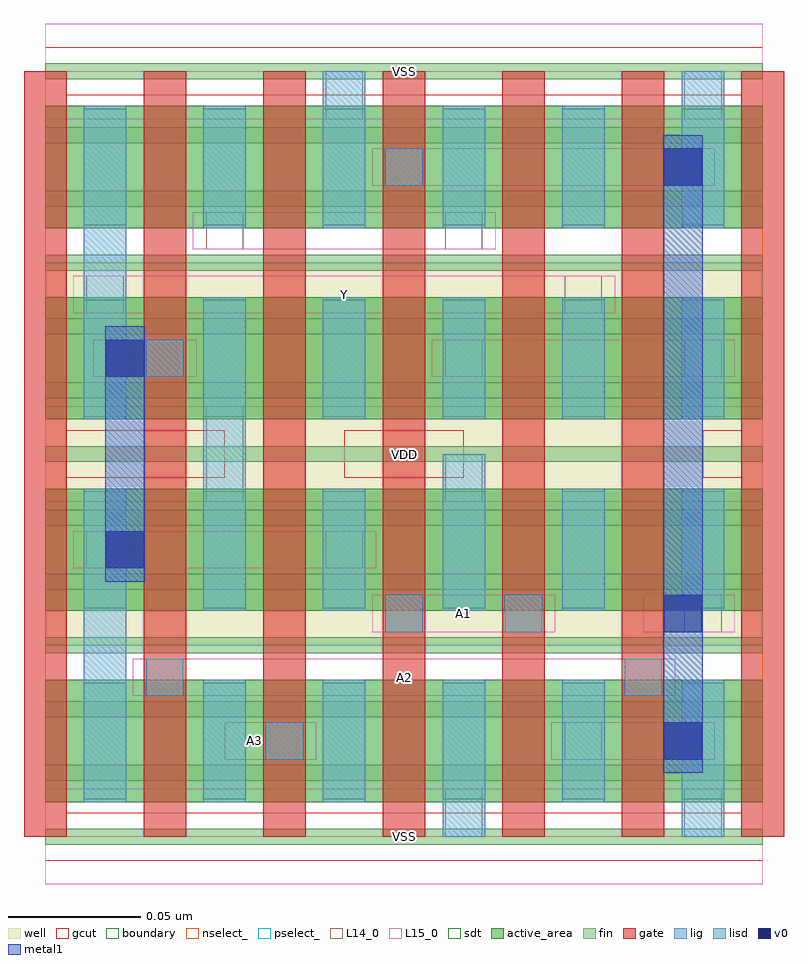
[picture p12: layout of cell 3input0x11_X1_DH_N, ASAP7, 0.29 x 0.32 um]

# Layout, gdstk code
import gdstk
lib = gdstk.Library(unit=1e-6, precision=2.5e-10)
def R(c, l, rs):  # rectangles x0, y0, x1, y1
    for r in rs: c.add(gdstk.rectangle(r[:2], r[2:], *l))
def A(c, l, x, y, w, h, nx, ny, dx, dy):  # array of equal rectangles
    R(c, l, [(x+i*dx, y+j*dy, x+i*dx+w, y+j*dy+h) for i in range(nx) for j in range(ny)])
def P(c, l, *ps):  # polygons
    for p in ps: c.add(gdstk.Polygon(p, *l))
well = (1, 0)
fin = (2, 0)
gate = (7, 0)
gcut = (10, 0)
active_area = (11, 0)
nselect_ = (12, 0)
pselect_ = (13, 0)
L14_0 = (14, 0)
L15_0 = (15, 0)
lig = (16, 0)
lisd = (17, 0)
v0 = (18, 0)
metal1 = (19, 0)
sdt = (88, 0)
boundary = (100, 0)

c_3input0x11_x1_dh_n = lib.new_cell('3input0x11_X1_DH_N')
R(c_3input0x11_x1_dh_n, well, [(0,0.072,0.27,0.144), (0,0.144,0.27,0.216)])
A(c_3input0x11_x1_dh_n, fin, 0, -0.003, 0.27, 0.006, 1, 13, 0, 0.024)
A(c_3input0x11_x1_dh_n, gate, -0.008, 0, 0.016, 0.288, 7, 1, 0.045, 0)
R(c_3input0x11_x1_dh_n, gcut, [(0.1125,0.135,0.1575,0.153)])
P(c_3input0x11_x1_dh_n, gcut, [(0,-0.009),(0,0),(-0.008,0),(-0.008,0.279),(0.008,0.279),(0.008,0.153),(0.0675,0.153),(0.0675,0.135),(0.008,0.135),(0.008,0.009),(0.262,0.009),(0.262,0.135),(0.2475,0.135),(0.2475,0.153),(0.262,0.153),(0.262,0.279),(-0.008,0.279),(-0.008,0.288),(0,0.288),(0,0.297),(0.27,0.297),(0.27,0.288),(0.278,0.288),(0.278,0),(0.27,0),(0.27,-0.009)])
A(c_3input0x11_x1_dh_n, active_area, 0, 0.013, 0.27, 0.046, 1, 4, 0, 0.072)
R(c_3input0x11_x1_dh_n, nselect_, [(0,0,0.27,0.072), (0,0.216,0.27,0.288)])
R(c_3input0x11_x1_dh_n, pselect_, [(0,0.072,0.27,0.144), (0,0.144,0.27,0.216)])
R(c_3input0x11_x1_dh_n, L14_0, [(0.1505,0,0.1645,0.018), (0.2405,0,0.2545,0.018), (0.083,0.029,0.097,0.043), (0.1955,0.029,0.2095,0.043), (0.038,0.053,0.052,0.067), (0.218,0.053,0.232,0.067), (0.128,0.077,0.142,0.091), (0.173,0.077,0.187,0.091), (0.2405,0.077,0.2545,0.091), (0.0155,0.101,0.0295,0.115), (0.1055,0.101,0.1195,0.115), (0.0605,0.126,0.0745,0.144), (0.1505,0.126,0.1645,0.144), (0.0605,0.144,0.0745,0.162), (0.038,0.173,0.052,0.187), (0.1505,0.173,0.1645,0.187), (0.2405,0.173,0.2545,0.187), (0.0155,0.197,0.0295,0.211), (0.1955,0.197,0.2095,0.211), (0.0605,0.221,0.0745,0.235), (0.1505,0.221,0.1645,0.235), (0.128,0.245,0.142,0.259), (0.1055,0.27,0.1195,0.288), (0.2405,0.27,0.2545,0.288)])
A(c_3input0x11_x1_dh_n, L15_0, 0, -0.018, 0.27, 0.036, 1, 3, 0, 0.144)
R(c_3input0x11_x1_dh_n, L15_0, [(0.0675,0.029,0.102,0.043), (0.1905,0.029,0.252,0.043), (0.033,0.053,0.237,0.067), (0.123,0.077,0.192,0.091), (0.225,0.077,0.2595,0.091), (0.0105,0.101,0.1245,0.115), (0.018,0.173,0.057,0.187), (0.1455,0.173,0.2595,0.187), (0.0105,0.197,0.2145,0.211), (0.0555,0.221,0.1695,0.235), (0.123,0.245,0.252,0.259)])
R(c_3input0x11_x1_dh_n, lig, [(0.083,0.029,0.097,0.043), (0.038,0.053,0.052,0.067), (0.218,0.053,0.232,0.067), (0.128,0.077,0.142,0.091), (0.173,0.077,0.187,0.091), (0.038,0.173,0.052,0.187), (0.128,0.245,0.142,0.259)])
A(c_3input0x11_x1_dh_n, lisd, 0.1045, 0.157, 0.016, 0.046, 4, 1, 0.045, 0)
R(c_3input0x11_x1_dh_n, lisd, [(0.1495,0,0.1655,0.059), (0.2395,0,0.2555,0.059), (0.0145,0.013,0.0305,0.131), (0.0595,0.013,0.0755,0.059), (0.1045,0.013,0.1205,0.059), (0.1945,0.013,0.2105,0.059), (0.0595,0.085,0.0755,0.203), (0.1045,0.085,0.1205,0.131), (0.1495,0.085,0.1655,0.144), (0.1945,0.085,0.2105,0.131), (0.2395,0.085,0.2555,0.131), (0.0145,0.157,0.0305,0.275), (0.0595,0.229,0.0755,0.275), (0.1045,0.229,0.1205,0.288), (0.1495,0.229,0.1655,0.275), (0.1945,0.229,0.2105,0.275), (0.2395,0.229,0.2555,0.288)])
R(c_3input0x11_x1_dh_n, v0, [(0.233,0.029,0.247,0.043), (0.233,0.077,0.247,0.091), (0.023,0.101,0.037,0.115), (0.023,0.173,0.037,0.187), (0.233,0.245,0.247,0.259)])
R(c_3input0x11_x1_dh_n, metal1, [(0.2325,0.024,0.2475,0.264), (0.0225,0.096,0.0375,0.192)])
A(c_3input0x11_x1_dh_n, sdt, 0.0145, 0.014, 0.016, 0.044, 6, 4, 0.045, 0.072)
R(c_3input0x11_x1_dh_n, boundary, [(0,0,0.27,0.288)])
c_3input0x11_x1_dh_n.add(gdstk.Label('A1', (0.1575,0.084), layer=15, texttype=251))
c_3input0x11_x1_dh_n.add(gdstk.Label('VSS', (0.135,0), layer=15, texttype=251))
c_3input0x11_x1_dh_n.add(gdstk.Label('VDD', (0.135,0.144), layer=15, texttype=251))
c_3input0x11_x1_dh_n.add(gdstk.Label('VDD', (0.135,0.144), layer=15, texttype=251))
c_3input0x11_x1_dh_n.add(gdstk.Label('VSS', (0.135,0.288), layer=15, texttype=251))
c_3input0x11_x1_dh_n.add(gdstk.Label('A3', (0.0788,0.036), layer=15, texttype=251))
c_3input0x11_x1_dh_n.add(gdstk.Label('VSS', (0.135,0), layer=15, texttype=251))
c_3input0x11_x1_dh_n.add(gdstk.Label('VDD', (0.135,0.144), layer=15, texttype=251))
c_3input0x11_x1_dh_n.add(gdstk.Label('VDD', (0.135,0.144), layer=15, texttype=251))
c_3input0x11_x1_dh_n.add(gdstk.Label('VSS', (0.135,0.288), layer=15, texttype=251))
c_3input0x11_x1_dh_n.add(gdstk.Label('Y', (0.1125,0.204), layer=15, texttype=251))
c_3input0x11_x1_dh_n.add(gdstk.Label('VSS', (0.135,0), layer=15, texttype=251))
c_3input0x11_x1_dh_n.add(gdstk.Label('VDD', (0.135,0.144), layer=15, texttype=251))
c_3input0x11_x1_dh_n.add(gdstk.Label('VDD', (0.135,0.144), layer=15, texttype=251))
c_3input0x11_x1_dh_n.add(gdstk.Label('VSS', (0.135,0.288), layer=15, texttype=251))
c_3input0x11_x1_dh_n.add(gdstk.Label('A2', (0.135,0.06), layer=15, texttype=251))
c_3input0x11_x1_dh_n.add(gdstk.Label('VSS', (0.135,0), layer=15, texttype=251))
c_3input0x11_x1_dh_n.add(gdstk.Label('VDD', (0.135,0.144), layer=15, texttype=251))
c_3input0x11_x1_dh_n.add(gdstk.Label('VDD', (0.135,0.144), layer=15, texttype=251))
c_3input0x11_x1_dh_n.add(gdstk.Label('VSS', (0.135,0.288), layer=15, texttype=251))
c_3input0x11_x1_dh_n.add(gdstk.Label('VSS', (0.135,0), layer=3, texttype=251))
c_3input0x11_x1_dh_n.add(gdstk.Label('VSS', (0.135,0.288), layer=3, texttype=251))
c_3input0x11_x1_dh_n.add(gdstk.Label('VSS', (0.135,0), layer=3, texttype=251))
c_3input0x11_x1_dh_n.add(gdstk.Label('VSS', (0.135,0.288), layer=3, texttype=251))
c_3input0x11_x1_dh_n.add(gdstk.Label('VSS', (0.135,0), layer=3, texttype=251))
c_3input0x11_x1_dh_n.add(gdstk.Label('VSS', (0.135,0.288), layer=3, texttype=251))
c_3input0x11_x1_dh_n.add(gdstk.Label('VSS', (0.135,0), layer=3, texttype=251))
c_3input0x11_x1_dh_n.add(gdstk.Label('VSS', (0.135,0.288), layer=3, texttype=251))
c_3input0x11_x1_dh_n.add(gdstk.Label('VDD', (0.135,0.144), layer=1, texttype=251))
c_3input0x11_x1_dh_n.add(gdstk.Label('VDD', (0.135,0.144), layer=1, texttype=251))
c_3input0x11_x1_dh_n.add(gdstk.Label('VDD', (0.135,0.144), layer=1, texttype=251))
c_3input0x11_x1_dh_n.add(gdstk.Label('VDD', (0.135,0.144), layer=1, texttype=251))
c_3input0x11_x1_dh_n.add(gdstk.Label('VDD', (0.135,0.144), layer=1, texttype=251))
c_3input0x11_x1_dh_n.add(gdstk.Label('VDD', (0.135,0.144), layer=1, texttype=251))
c_3input0x11_x1_dh_n.add(gdstk.Label('VDD', (0.135,0.144), layer=1, texttype=251))
c_3input0x11_x1_dh_n.add(gdstk.Label('VDD', (0.135,0.144), layer=1, texttype=251))

lib.write_gds('3input0x11_X1_DH_N.gds')
